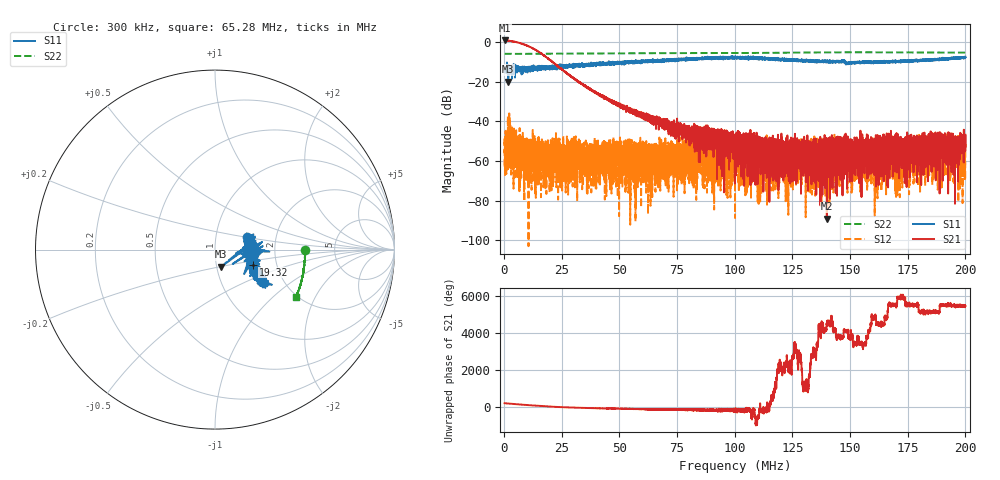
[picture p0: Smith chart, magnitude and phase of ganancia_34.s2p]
# Hz S DB R 50
! CMT, M5065, 19127446, 24.2.4/2
! Date: 11/8/2024 6:40:36 PM
! Data: Format (Calibration Info)
! Freq	S11:dB/Ang(F2)	S21:dB/Ang(F2)	S12:dB/Ang(F2)	S22:dB/Ang(F2)
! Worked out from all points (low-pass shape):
!   9000 points, 300 kHz to 200 MHz, reference 50 ohm
!   highest |S21| = 0.75 dB at 322.2 kHz (marker M1); lowest = -89.0 dB at 140 MHz (marker M2)
!   |S21| within 3 dB of the highest: start of sweep to 10.79 MHz; 10.80978 MHz to 10.85188 MHz (42.1 kHz wide, 0.389 % of centre)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
!   lowest |S11| = -19.9 dB at 1.898 MHz (marker M3), VSWR 1.22, Z = 52.6 - j10.1 ohm
!   |S11| at or under -10 dB: start of sweep to 45.49 MHz; 47.19 MHz to 49.14 MHz (1.951 MHz wide, 4.05 % of centre); 148 MHz to 151.8 MHz (3.717 MHz wide, 2.48 % of centre)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
!   |S22| runs from -6.0 to -5.2 dB; largest |S21 - S12| = 1.1
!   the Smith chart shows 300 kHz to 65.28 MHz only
!   S11 on the Smith chart (normalised r, x): 300 kHz: 1.42, +0.21; 19.32 MHz: 1.51, -0.27; 65.28 MHz: 1.59, -0.66
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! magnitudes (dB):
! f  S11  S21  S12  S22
! 300 kHz  -14.3  0.7  -62.7  -6.0
! 322.2 kHz  -13.1  0.8  -47.9  -6.0
! 1.898 MHz  -19.9  0.7  -46.6  -6.0
! 4.539 MHz  -13.7  0.2  -56.5  -6.0
! 6.514 MHz  -12.7  -0.4  -64.9  -6.0
! 19.32 MHz  -12.8  -8.5  -57.2  -5.9
! 23.98 MHz  -12.9  -12.8  -54.7  -5.9
! 33.59 MHz  -11.8  -20.9  -54.6  -5.9
! 65.28 MHz  -9.6  -38.2  -56.3  -5.7
! 66.87 MHz  -9.5  -40.4  -55.4  -5.7
! 100.2 MHz  -7.4  -55.0  -88.7  -5.6
! 103.9 MHz  -7.7  -46.0  -58.8  -5.5
! 120.7 MHz  -8.6  -55.5  -62.6  -5.4
! 122.7 MHz  -8.5  -58.2  -56.6  -5.4
! 133.4 MHz  -9.4  -67.5  -55.0  -5.3
! 140 MHz  -9.7  -89.0  -71.8  -5.3
! 145.5 MHz  -9.7  -59.2  -54.7  -5.2
! 147.5 MHz  -9.3  -57.4  -52.3  -5.2
! 150.8 MHz  -10.0  -57.7  -62.2  -5.2
! 166.7 MHz  -9.9  -54.2  -51.0  -5.2
! 196.5 MHz  -8.1  -51.0  -61.3  -5.4
! 200 MHz  -7.5  -46.8  -54.2  -5.4
